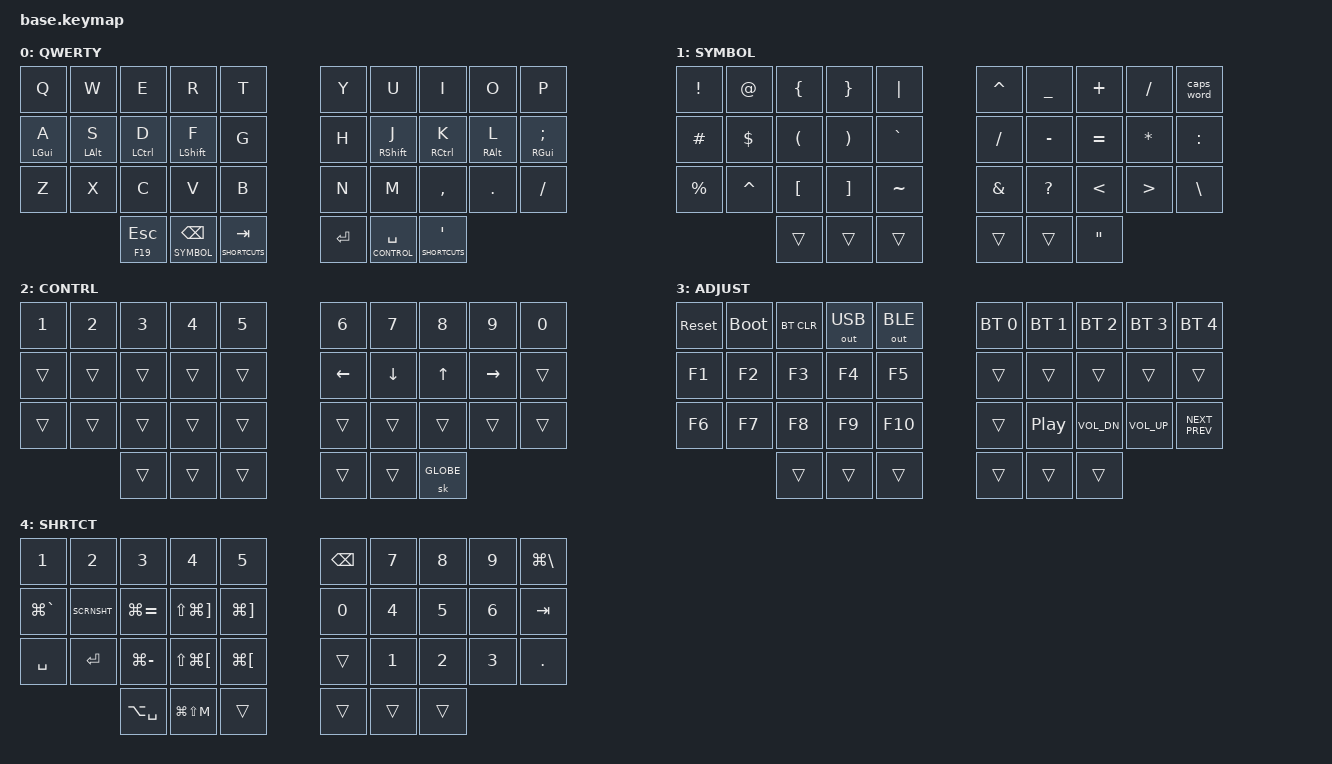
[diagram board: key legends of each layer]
/*
 * Copyright (c) 2020 The ZMK Contributors
 *
 * SPDX-License-Identifier: MIT
 */

#include <behaviors.dtsi>
#include <dt-bindings/zmk/keys.h>
#include <dt-bindings/zmk/matrix_transform.h>
#include <dt-bindings/zmk/outputs.h>

/* LAYERS */
#define QWERTY    0
#define SYMBOL    1
#define CONTROL   2
#define ADJUST    3
#define SHORTCUTS 4

/* MACROS */
#define SWIN LG(GRAVE)
#define SCRN LG(LS(LC(N4)))
#define SCR2 LG(LS(N4))
#define ZMIN LG(EQUAL)
#define ZOUT LG(MINUS)
#define TABN LS(LG(RBKT))
#define TABP LS(LG(LBKT))
#define HBCK LG(LBKT)
#define HFWD LG(RBKT)
#define PASS LG(BSLH)
#define MUTE LG(LS(M))
#define PTT  LA(SPC)

&mt {
  tapping-term-ms = <150>;
};

/ {
  chosen {
    zmk,matrix_transform = &five_column_transform;
  };

  combos {
    compatible = "zmk,combos";
    combo_esc {
      timeout-ms = <50>;
      key-positions = <0 1>;
      bindings = <&kp ESC>;
    };
    combo_quote {
      timeout-ms = <50>;
      key-positions = <18 19>;
      bindings = <&kp SQT>;
    };
    combo_hyper {
      timeout-ms = <50>;
      key-positions = <10 19>;
      bindings = <&sk F19>;
    };
    combo_shortcuts {
      timeout-ms = <50>;
      key-positions = <19 29>;
      bindings = <&mo SHORTCUTS>;
    };
  };

  conditional_layers {
    compatible = "zmk,conditional-layers";

    tri_layer {
      if-layers = <SYMBOL CONTROL>;
      then-layer = <ADJUST>;
    };
  };

  behaviors {
    hm: homerow_mods {
      compatible = "zmk,behavior-hold-tap";
      label = "HOMEROW_MODS";
      #binding-cells = <2>;
      tapping-term-ms = <150>;
      quick_tap_ms = <0>;
      flavor = "tap-preferred";
      bindings = <&kp>, <&kp>;
    };
    NEXT_PREV: tap_dance_0 {
      compatible = "zmk,behavior-tap-dance";
      label = "NEXT_PREV";
      #binding-cells = <0>;
      tapping-term-ms = <200>;
      bindings = <&kp C_NEXT>, <&kp C_PREV>;
    };
    SCRNSHT: tap_dance_1 {
      compatible = "zmk,behavior-tap-dance";
      label = "SCRNSHT";
      #binding-cells = <0>;
      tapping-term-ms = <200>;
      bindings = <&kp SCRN>, <&kp SCR2>;
    };
    SPCRET: tap_dance_2 {
      compatible = "zmk,behavior-tap-dance";
      label = "SPCRET";
      #binding-cells = <0>;
      tapping-term-ms = <150>;
      bindings = <&kp SPACE>, <&kp RET>;
    };
    DOT_TAB: tap_dance_3 {
      compatible = "zmk,behavior-tap-dance";
      label = "DOT_TAB";
      #binding-cells = <0>;
      tapping-term-ms = <200>;
      bindings = <&kp DOT>, <&kp TAB>;
    };
  };

  keymap {
    compatible = "zmk,keymap";

    qwerty_layer {
      label = "QWERTY";
      bindings = <
 &kp Q           &kp W      &kp E       &kp R        &kp T &kp Y &kp U        &kp I       &kp O      &kp P
 &hm LGUI A      &hm LALT S &hm LCTRL D &hm LSHIFT F &kp G &kp H &hm RSHIFT J &hm RCTRL K &hm RALT L &hm RGUI SEMI
 &kp Z           &kp X      &kp C       &kp V        &kp B &kp N &kp M        &kp COMMA   &kp DOT    &kp FSLH
 &mt F19 ESC &lt SYMBOL BSPC &lt SHORTCUTS TAB &kp RET &lt CONTROL SPACE &lt SHORTCUTS SQT
      >;
    };
    symbol_layer {
      label = "SYMBOL";
      bindings = <
&kp EXCL    &kp AT     &kp LBRC &kp RBRC &kp PIPE  &kp CARET &kp UNDER &kp PLUS  &kp SLASH &caps_word
&kp HASH    &kp DOLLAR &kp LPRN &kp RPRN &kp GRAVE &kp SLASH &kp MINUS &kp EQUAL &kp STAR  &kp COLON
&kp PERCENT &kp CARET  &kp LBKT &kp RBKT &kp TILDE &kp AMPS  &kp QMARK &kp LT    &kp GT    &kp BACKSLASH
                             &trans &trans &trans &trans &trans &kp DQT
      >;
    };

    control_layer {
      label = "CONTRL";
      bindings = <
&kp N1 &kp N2 &kp N3 &kp N4 &kp N5 &kp N6   &kp N7   &kp N8 &kp N9    &kp N0
&trans &trans &trans &trans &trans &kp LEFT &kp DOWN &kp UP &kp RIGHT &trans
&trans &trans &trans &trans &trans &trans   &trans   &trans &trans    &trans
             &trans &trans &trans &trans   &trans   &sk GLOBE
      >;
    };

    adjust_layer {
      label = "ADJUST";
      bindings = <
&sys_reset &bootloader &bt BT_CLR &out OUT_USB &out OUT_BLE &bt BT_SEL 0 &bt BT_SEL 1     &bt BT_SEL 2 &bt BT_SEL 3 &bt BT_SEL 4
&kp F1     &kp F2      &kp F3     &kp F4       &kp F5       &trans       &trans           &trans       &trans       &trans
&kp F6     &kp F7      &kp F8     &kp F9       &kp F10      &trans       &kp C_PLAY_PAUSE &kp C_VOL_DN &kp C_VOL_UP &NEXT_PREV
                       &trans     &trans       &trans       &trans       &trans           &trans
      >;
   };

    shortcuts_layer {
      label = "SHRTCT";
      bindings = <
&kp N1   &kp N2   &kp N3   &kp N4   &kp N5   &kp BSPC  &kp N7 &kp N8 &kp N9 &kp PASS
&kp SWIN &SCRNSHT &kp ZMIN &kp TABN &kp HFWD &kp N0    &kp N4 &kp N5 &kp N6 &kp TAB
&kp SPC  &kp RET   &kp ZOUT &kp TABP &kp HBCK &DOT_TAB &kp N1 &kp N2 &kp N3 &kp DOT
                  &kp PTT &kp MUTE &trans   &trans   &trans &trans
      >;
    };
  };
};

||||||| parent of 8171701 (Testing a cygnus build)
#include <dt-bindings/zmk/keys.h>
#include <dt-bindings/zmk/matrix_transform.h>
#include <dt-bindings/zmk/outputs.h>

/* LAYERS */
#define QWERTY    0
#define SYMBOL    1
#define CONTROL   2
#define ADJUST    3
#define SHORTCUTS 4

/* MACROS */
#define SWIN LG(GRAVE)
#define SCRN LG(LS(LC(N4)))
#define SCR2 LG(LS(N4))
#define ZMIN LG(EQUAL)
#define ZOUT LG(MINUS)
#define TABN LS(LG(RBKT))
#define TABP LS(LG(LBKT))
#define HBCK LG(LBKT)
#define HFWD LG(RBKT)
#define PASS LG(BSLH)
#define MUTE LG(LS(M))
#define PTT  LA(SPC)

&mt {
  tapping-term-ms = <150>;
};

/ {
  chosen {
    zmk,matrix_transform = &five_column_transform;
  };

  combos {
    compatible = "zmk,combos";
    combo_esc {
      timeout-ms = <50>;
      key-positions = <20 21>;
      bindings = <&mt F19 ESC>;
    };
    combo_quote {
      timeout-ms = <50>;
      key-positions = <18 19>;
      bindings = <&lt SHORTCUTS SQT>;
    };
  };

  conditional_layers {
    compatible = "zmk,conditional-layers";

    tri_layer {
      if-layers = <SYMBOL CONTROL>;
      then-layer = <ADJUST>;
    };
  };

  behaviors {
    hm: homerow_mods {
      compatible = "zmk,behavior-hold-tap";
      label = "HOMEROW_MODS";
      #binding-cells = <2>;
      tapping-term-ms = <150>;
      quick_tap_ms = <0>;
      flavor = "tap-preferred";
      bindings = <&kp>, <&kp>;
    };
    NEXT_PREV: tap_dance_0 {
      compatible = "zmk,behavior-tap-dance";
      label = "NEXT_PREV";
      #binding-cells = <0>;
      tapping-term-ms = <200>;
      bindings = <&kp C_NEXT>, <&kp C_PREV>;
    };
    SCRNSHT: tap_dance_1 {
      compatible = "zmk,behavior-tap-dance";
      label = "SCRNSHT";
      #binding-cells = <0>;
      tapping-term-ms = <200>;
      bindings = <&kp SCRN>, <&kp SCR2>;
    };
    SPCRET: tap_dance_2 {
      compatible = "zmk,behavior-tap-dance";
      label = "SPCRET";
      #binding-cells = <0>;
      tapping-term-ms = <150>;
      bindings = <&kp SPACE>, <&kp RET>;
    };
  };

  keymap {
    compatible = "zmk,keymap";

    qwerty_layer {
      label = "QWERTY";
      bindings = <
 &kp Q           &kp W      &kp E       &kp R        &kp T &kp Y &kp U        &kp I       &kp O      &kp P
 &hm LGUI A      &hm LALT S &hm LCTRL D &hm LSHIFT F &kp G &kp H &hm RSHIFT J &hm RCTRL K &hm RALT L &hm RGUI SEMI
 &kp Z           &kp X      &kp C       &kp V        &kp B &kp N &kp M        &kp COMMA   &kp DOT    &kp FSLH
 &mt F19 ESC &lt SYMBOL BSPC &lt SHORTCUTS TAB &kp RET &lt CONTROL SPACE &lt SHORTCUTS SQT
      >;
    };
    symbol_layer {
      label = "SYMBOL";
      bindings = <
&kp EXCL    &kp AT     &kp LBRC &kp RBRC &kp PIPE  &kp CARET &kp UNDER &kp PLUS  &kp SLASH &caps_word
&kp HASH    &kp DOLLAR &kp LPRN &kp RPRN &kp GRAVE &kp SLASH &kp MINUS &kp EQUAL &kp STAR  &kp COLON
&kp PERCENT &kp CARET  &kp LBKT &kp RBKT &kp TILDE &kp AMPS  &kp QMARK &kp LT    &kp GT    &kp BACKSLASH
                             &trans &trans &trans &trans &trans &kp DQT
      >;
    };

    control_layer {
      label = "CONTRL";
      bindings = <
&kp N1 &kp N2 &kp N3 &kp N4 &kp N5 &kp N6   &kp N7   &kp N8 &kp N9    &kp N0
&trans &trans &trans &trans &trans &kp LEFT &kp DOWN &kp UP &kp RIGHT &trans
&trans &trans &trans &trans &trans &trans   &trans   &trans &trans    &trans
             &trans &trans &trans &trans   &trans   &sk GLOBE
      >;
    };

    adjust_layer {
      label = "ADJUST";
      bindings = <
&sys_reset &bootloader &bt BT_CLR &out OUT_USB &out OUT_BLE &bt BT_SEL 0 &bt BT_SEL 1     &bt BT_SEL 2 &bt BT_SEL 3 &bt BT_SEL 4
&kp F1     &kp F2      &kp F3     &kp F4       &kp F5       &trans       &trans           &trans       &trans       &trans
&kp F6     &kp F7      &kp F8     &kp F9       &kp F10      &trans       &kp C_PLAY_PAUSE &kp C_VOL_DN &kp C_VOL_UP &NEXT_PREV
                       &trans     &trans       &trans       &trans       &trans           &trans
      >;
   };

    shortcuts_layer {
      label = "SHRTCT";
      bindings = <
&kp N1   &kp N2   &kp N3   &kp N4   &kp N5   &kp BSPC &kp N7 &kp N8 &kp N9 &kp PASS
&kp SWIN &SCRNSHT &kp ZMIN &kp TABN &kp HFWD &kp N0   &kp N4 &kp N5 &kp N6 &kp TAB
&kp SPC  &kp RET   &kp ZOUT &kp TABP &kp HBCK &trans   &kp N1 &kp N2 &kp N3 &kp DOT
                  &kp PTT &kp MUTE &trans   &trans   &trans &trans
      >;
    };
  };
};
